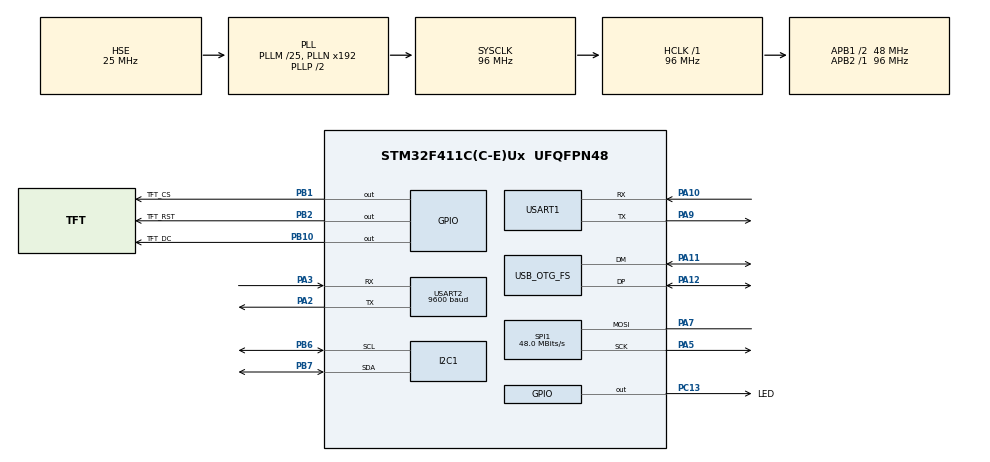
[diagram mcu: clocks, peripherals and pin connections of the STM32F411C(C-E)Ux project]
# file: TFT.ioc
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Mcu.Family=STM32F4
Mcu.Name=STM32F411C(C-E)Ux
Mcu.Package=UFQFPN48
NVIC.PriorityGroup=NVIC_PRIORITYGROUP_4
NVIC.USART2_IRQn=true\:0\:0\:false\:false\:true\:true\:true
PA10.Mode=Asynchronous
PA10.Signal=USART1_RX
PA11.Mode=Device_Only
PA11.Signal=USB_OTG_FS_DM
PA12.Mode=Device_Only
PA12.Signal=USB_OTG_FS_DP
PA13.Mode=Serial_Wire
PA13.Signal=SYS_JTMS-SWDIO
PA14.Mode=Serial_Wire
PA14.Signal=SYS_JTCK-SWCLK
PA2.Mode=Asynchronous
PA2.Signal=USART2_TX
PA3.Mode=Asynchronous
PA3.Signal=USART2_RX
PA5.Mode=Simplex_Bidirectional_Master
PA5.Signal=SPI1_SCK
PA7.Mode=Simplex_Bidirectional_Master
PA7.Signal=SPI1_MOSI
PA9.Mode=Asynchronous
PA9.Signal=USART1_TX
PB1.GPIO_Label=TFT_CS
PB1.GPIO_Speed=GPIO_SPEED_FREQ_HIGH
PB1.Signal=GPIO_Output
PB10.GPIO_Label=TFT_DC
PB10.GPIO_Speed=GPIO_SPEED_FREQ_HIGH
PB10.Signal=GPIO_Output
PB2.GPIO_Label=TFT_RST
PB2.GPIO_Speed=GPIO_SPEED_FREQ_HIGH
PB2.Signal=GPIO_Output
PB6.Mode=I2C
PB6.Signal=I2C1_SCL
PB7.Mode=I2C
PB7.Signal=I2C1_SDA
PC13-ANTI_TAMP.GPIO_Label=LED
PC13-ANTI_TAMP.Signal=GPIO_Output
PH0\ -\ OSC_IN.Mode=HSE-External-Oscillator
PH0\ -\ OSC_IN.Signal=RCC_OSC_IN
PH1\ -\ OSC_OUT.Mode=HSE-External-Oscillator
PH1\ -\ OSC_OUT.Signal=RCC_OSC_OUT
ProjectManager.HeapSize=0x200
ProjectManager.StackSize=0x400
ProjectManager.TargetToolchain=STM32CubeIDE
RCC.48MHZClocksFreq_Value=48000000
RCC.AHBFreq_Value=96000000
RCC.APB1CLKDivider=RCC_HCLK_DIV2
RCC.APB1Freq_Value=48000000
RCC.APB1TimFreq_Value=96000000
RCC.APB2Freq_Value=96000000
RCC.APB2TimFreq_Value=96000000
RCC.CortexFreq_Value=96000000
RCC.HCLKFreq_Value=96000000
RCC.HSE_VALUE=25000000
RCC.HSI_VALUE=16000000
RCC.LSE_VALUE=32768
RCC.PLLM=25
RCC.SYSCLKFreq_VALUE=96000000
RCC.SYSCLKSource=RCC_SYSCLKSOURCE_PLLCLK
RCC.VCOOutputFreq_Value=192000000
SPI1.BaudRatePrescaler=SPI_BAUDRATEPRESCALER_2
SPI1.CalculateBaudRate=48.0 MBits/s
SPI1.Direction=SPI_DIRECTION_1LINE
SPI1.Mode=SPI_MODE_MASTER
SPI1.VirtualType=VM_MASTER
USART1.VirtualMode=VM_ASYNC
USART2.BaudRate=9600
USART2.VirtualMode=VM_ASYNC
USB_OTG_FS.VirtualMode=Device_Only
board=custom

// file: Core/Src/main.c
/* USER CODE BEGIN Header */
/**
  ******************************************************************************
  * @file           : main.c
  * @brief          : Main program body
  ******************************************************************************
  * @attention
  *
  * Copyright (c) 2021 STMicroelectronics.
  * All rights reserved.
  *
  * This software is licensed under terms that can be found in the LICENSE file
  * in the root directory of this software component.
  * If no LICENSE file comes with this software, it is provided AS-IS.
  *
  ******************************************************************************
  */
/* USER CODE END Header */
#include "main.h"

/* USER CODE BEGIN Includes */
#include "ili9488.h"
/* USER CODE END Includes */

I2C_HandleTypeDef hi2c1;

SPI_HandleTypeDef hspi1;

UART_HandleTypeDef huart1;
UART_HandleTypeDef huart2;

PCD_HandleTypeDef hpcd_USB_OTG_FS;

void SystemClock_Config(void);
static void MX_GPIO_Init(void);
static void MX_USART1_UART_Init(void);
static void MX_I2C1_Init(void);
static void MX_USART2_UART_Init(void);
static void MX_SPI1_Init(void);
static void MX_USB_OTG_FS_PCD_Init(void);

int main(void)
{

  /* MCU Configuration--------------------------------------------------------*/

  /* Reset of all peripherals, Initializes the Flash interface and the Systick. */
  HAL_Init();

  /* Configure the system clock */
  SystemClock_Config();

  /* Initialize all configured peripherals */
  MX_GPIO_Init();
  MX_USART1_UART_Init();
  MX_I2C1_Init();
  MX_USART2_UART_Init();
  MX_SPI1_Init();
  MX_USB_OTG_FS_PCD_Init();
  /* USER CODE BEGIN 2 */
  //__HAL_SPI_ENABLE(&hspi1);
  ILI9488_Init();

  HAL_Delay(1000);
  setRotation(1);
  char badmpu[] = "BEFORE FILLSCREEN\n\r";

    	        	  HAL_UART_Transmit(&huart1, badmpu, strlen((char *)badmpu), 0xFFFF);
    	        	  HAL_Delay(1000);
  fillScreen(ILI9488_NAVY);
  	    	    fillScreen(ILI9488_BLUE);
  	    	    fillScreen(ILI9488_DARKGREEN);
  	    	    fillScreen(ILI9488_MAROON);
  	    	    fillScreen(ILI9488_PURPLE);
  	    	    fillScreen(ILI9488_OLIVE);
  	    	    fillScreen(ILI9488_LIGHTGREY);
  	    	    fillScreen(ILI9488_GREEN);
  	    	  fillScreen(ILI9488_NAVY);
  	    	    	    fillScreen(ILI9488_BLUE);
  	    	    	    fillScreen(ILI9488_DARKGREEN);
  	    	    	    fillScreen(ILI9488_MAROON);
  	    	    	    fillScreen(ILI9488_PURPLE);
  	    	    	    fillScreen(ILI9488_OLIVE);
  	    	    	    fillScreen(ILI9488_LIGHTGREY);
  	    	    	    fillScreen(ILI9488_GREEN);
  	    	    	  fillScreen(ILI9488_NAVY);
  	    	    	    	    fillScreen(ILI9488_BLUE);
  	    	    	    	    fillScreen(ILI9488_DARKGREEN);
  	    	    	    	    fillScreen(ILI9488_MAROON);
  	    	    	    	    fillScreen(ILI9488_PURPLE);
  	    	    	    	    fillScreen(ILI9488_OLIVE);
  	    	    	    	    fillScreen(ILI9488_LIGHTGREY);
  	    	    	    	    fillScreen(ILI9488_GREEN);
  	    	    fillRect(0, 10, 480, 10, ILI9488_BLUE);
  	    	    fillRect(0, 40, 480, 10, ILI9488_DARKGREEN);
  	    	    fillRect(0, 60, 480, 10, ILI9488_MAROON);
  	    	    fillRect(0, 80, 480, 10, ILI9488_PURPLE);
  	    	    fillRect(0, 100, 480, 10, ILI9488_OLIVE);
  	    	    fillRect(0, 120, 480, 10, ILI9488_LIGHTGREY);
  	    	    fillRect(0, 140, 480, 10, ILI9488_BLUE);
  	    	    fillRect(460, 220, 20, 100, ILI9488_BLUE);
  /* USER CODE END 2 */

  /* Infinite loop */
  while (1)
  {

  }
}

void SystemClock_Config(void)
{
  RCC_OscInitTypeDef RCC_OscInitStruct = {0};
  RCC_ClkInitTypeDef RCC_ClkInitStruct = {0};

  /** Configure the main internal regulator output voltage
  */
  __HAL_RCC_PWR_CLK_ENABLE();
  __HAL_PWR_VOLTAGESCALING_CONFIG(PWR_REGULATOR_VOLTAGE_SCALE1);
  /** Initializes the RCC Oscillators according to the specified parameters
  * in the RCC_OscInitTypeDef structure.
  */
  RCC_OscInitStruct.OscillatorType = RCC_OSCILLATORTYPE_HSE;
  RCC_OscInitStruct.HSEState = RCC_HSE_ON;
  RCC_OscInitStruct.PLL.PLLState = RCC_PLL_ON;
  RCC_OscInitStruct.PLL.PLLSource = RCC_PLLSOURCE_HSE;
  RCC_OscInitStruct.PLL.PLLM = 25;
  RCC_OscInitStruct.PLL.PLLN = 192;
  RCC_OscInitStruct.PLL.PLLP = RCC_PLLP_DIV2;
  RCC_OscInitStruct.PLL.PLLQ = 4;
  if (HAL_RCC_OscConfig(&RCC_OscInitStruct) != HAL_OK)
  {
    Error_Handler();
  }
  /** Initializes the CPU, AHB and APB buses clocks
  */
  RCC_ClkInitStruct.ClockType = RCC_CLOCKTYPE_HCLK|RCC_CLOCKTYPE_SYSCLK
                              |RCC_CLOCKTYPE_PCLK1|RCC_CLOCKTYPE_PCLK2;
  RCC_ClkInitStruct.SYSCLKSource = RCC_SYSCLKSOURCE_PLLCLK;
  RCC_ClkInitStruct.AHBCLKDivider = RCC_SYSCLK_DIV1;
  RCC_ClkInitStruct.APB1CLKDivider = RCC_HCLK_DIV2;
  RCC_ClkInitStruct.APB2CLKDivider = RCC_HCLK_DIV1;

  if (HAL_RCC_ClockConfig(&RCC_ClkInitStruct, FLASH_LATENCY_3) != HAL_OK)
  {
    Error_Handler();
  }
}

static void MX_I2C1_Init(void)
{

  hi2c1.Instance = I2C1;
  hi2c1.Init.ClockSpeed = 100000;
  hi2c1.Init.DutyCycle = I2C_DUTYCYCLE_2;
  hi2c1.Init.OwnAddress1 = 0;
  hi2c1.Init.AddressingMode = I2C_ADDRESSINGMODE_7BIT;
  hi2c1.Init.DualAddressMode = I2C_DUALADDRESS_DISABLE;
  hi2c1.Init.OwnAddress2 = 0;
  hi2c1.Init.GeneralCallMode = I2C_GENERALCALL_DISABLE;
  hi2c1.Init.NoStretchMode = I2C_NOSTRETCH_DISABLE;
  if (HAL_I2C_Init(&hi2c1) != HAL_OK)
  {
    Error_Handler();
  }

}

static void MX_SPI1_Init(void)
{

  /* SPI1 parameter configuration*/
  hspi1.Instance = SPI1;
  hspi1.Init.Mode = SPI_MODE_MASTER;
  hspi1.Init.Direction = SPI_DIRECTION_1LINE;
  hspi1.Init.DataSize = SPI_DATASIZE_8BIT;
  hspi1.Init.CLKPolarity = SPI_POLARITY_LOW;
  hspi1.Init.CLKPhase = SPI_PHASE_1EDGE;
  hspi1.Init.NSS = SPI_NSS_SOFT;
  hspi1.Init.BaudRatePrescaler = SPI_BAUDRATEPRESCALER_2;
  hspi1.Init.FirstBit = SPI_FIRSTBIT_MSB;
  hspi1.Init.TIMode = SPI_TIMODE_DISABLE;
  hspi1.Init.CRCCalculation = SPI_CRCCALCULATION_DISABLE;
  hspi1.Init.CRCPolynomial = 10;
  if (HAL_SPI_Init(&hspi1) != HAL_OK)
  {
    Error_Handler();
  }

}

static void MX_USART1_UART_Init(void)
{

  huart1.Instance = USART1;
  huart1.Init.BaudRate = 115200;
  huart1.Init.WordLength = UART_WORDLENGTH_8B;
  huart1.Init.StopBits = UART_STOPBITS_1;
  huart1.Init.Parity = UART_PARITY_NONE;
  huart1.Init.Mode = UART_MODE_TX_RX;
  huart1.Init.HwFlowCtl = UART_HWCONTROL_NONE;
  huart1.Init.OverSampling = UART_OVERSAMPLING_16;
  if (HAL_UART_Init(&huart1) != HAL_OK)
  {
    Error_Handler();
  }

}

static void MX_USART2_UART_Init(void)
{

  huart2.Instance = USART2;
  huart2.Init.BaudRate = 9600;
  huart2.Init.WordLength = UART_WORDLENGTH_8B;
  huart2.Init.StopBits = UART_STOPBITS_1;
  huart2.Init.Parity = UART_PARITY_NONE;
  huart2.Init.Mode = UART_MODE_TX_RX;
  huart2.Init.HwFlowCtl = UART_HWCONTROL_NONE;
  huart2.Init.OverSampling = UART_OVERSAMPLING_16;
  if (HAL_UART_Init(&huart2) != HAL_OK)
  {
    Error_Handler();
  }

}

static void MX_USB_OTG_FS_PCD_Init(void)
{

  hpcd_USB_OTG_FS.Instance = USB_OTG_FS;
  hpcd_USB_OTG_FS.Init.dev_endpoints = 4;
  hpcd_USB_OTG_FS.Init.speed = PCD_SPEED_FULL;
  hpcd_USB_OTG_FS.Init.dma_enable = DISABLE;
  hpcd_USB_OTG_FS.Init.phy_itface = PCD_PHY_EMBEDDED;
  hpcd_USB_OTG_FS.Init.Sof_enable = DISABLE;
  hpcd_USB_OTG_FS.Init.low_power_enable = DISABLE;
  hpcd_USB_OTG_FS.Init.lpm_enable = DISABLE;
  hpcd_USB_OTG_FS.Init.vbus_sensing_enable = DISABLE;
  hpcd_USB_OTG_FS.Init.use_dedicated_ep1 = DISABLE;
  if (HAL_PCD_Init(&hpcd_USB_OTG_FS) != HAL_OK)
  {
    Error_Handler();
  }

}

static void MX_GPIO_Init(void)
{
  GPIO_InitTypeDef GPIO_InitStruct = {0};

  /* GPIO Ports Clock Enable */
  __HAL_RCC_GPIOC_CLK_ENABLE();
  __HAL_RCC_GPIOH_CLK_ENABLE();
  __HAL_RCC_GPIOA_CLK_ENABLE();
  __HAL_RCC_GPIOB_CLK_ENABLE();

  /*Configure GPIO pin Output Level */
  HAL_GPIO_WritePin(LED_GPIO_Port, LED_Pin, GPIO_PIN_RESET);

  /*Configure GPIO pin Output Level */
  HAL_GPIO_WritePin(GPIOB, TFT_CS_Pin|TFT_RST_Pin|TFT_DC_Pin, GPIO_PIN_RESET);

  /*Configure GPIO pin : LED_Pin */
  GPIO_InitStruct.Pin = LED_Pin;
  GPIO_InitStruct.Mode = GPIO_MODE_OUTPUT_PP;
  GPIO_InitStruct.Pull = GPIO_NOPULL;
  GPIO_InitStruct.Speed = GPIO_SPEED_FREQ_LOW;
  HAL_GPIO_Init(LED_GPIO_Port, &GPIO_InitStruct);

  /*Configure GPIO pins : TFT_CS_Pin TFT_RST_Pin TFT_DC_Pin */
  GPIO_InitStruct.Pin = TFT_CS_Pin|TFT_RST_Pin|TFT_DC_Pin;
  GPIO_InitStruct.Mode = GPIO_MODE_OUTPUT_PP;
  GPIO_InitStruct.Pull = GPIO_NOPULL;
  GPIO_InitStruct.Speed = GPIO_SPEED_FREQ_HIGH;
  HAL_GPIO_Init(GPIOB, &GPIO_InitStruct);

}

void Error_Handler(void)
{
  __disable_irq();
  while (1)
  {
  }
}
